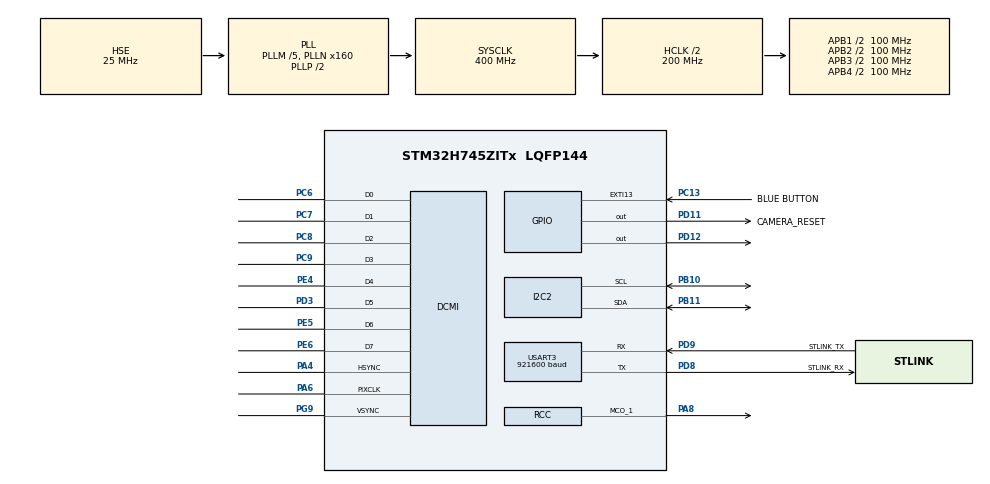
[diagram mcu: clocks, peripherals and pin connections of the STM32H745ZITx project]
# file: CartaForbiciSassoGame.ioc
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CORTEX_M7.CPU_DCache=Enabled
CORTEX_M7.CPU_ICache=Enabled
CORTEX_M7.default_mode_Activation=1
CortexM4.IPs=FATFS_M4\:I,FREERTOS_M4\:I,IWDG2\:I,RCC,WWDG2\:I,DMA,BDMA,MDMA,NVIC2\:I,ETH,DEBUG,PDM2PCM_M4\:I,PWR,RESMGR_UTILITY,SYS_M4\:I,USB_DEVICE_M4\:I,USB_HOST_M4\:I,CORTEX_M4\:I,GPIO,OPENAMP_M4\:I,VREFBUF,NUCLEO-H745ZI-Q\:I
CortexM7.IPs=FATFS_M7\:I,FREERTOS_M7\:I,IWDG1\:I,RCC\:I,WWDG1\:I,DMA\:I,BDMA\:I,MDMA\:I,NVIC1\:I,SYS\:I,USB_OTG_FS\:I,USB_OTG_FS1\:I,ETH\:I,CORTEX_M7\:I,DEBUG\:I,PDM2PCM_M7\:I,PWR\:I,RESMGR_UTILITY\:I,USB_DEVICE_M7\:I,USB_HOST_M7\:I,GPIO\:I,OPENAMP_M7\:I,VREFBUF\:I,I2C2\:I,DCMI\:I,USART3\:I
CortexM7.Pins=PC13,PD11,PD12
DCMI.PCKPolarity=DCMI_PCKPOLARITY_RISING
DCMI.VSPolarity=DCMI_VSPOLARITY_HIGH
Dma.DCMI.0.Direction=DMA_PERIPH_TO_MEMORY
Dma.DCMI.0.EventEnable=DISABLE
Dma.DCMI.0.FIFOMode=DMA_FIFOMODE_DISABLE
Dma.DCMI.0.Instance=DMA1_Stream0
Dma.DCMI.0.MemDataAlignment=DMA_MDATAALIGN_WORD
Dma.DCMI.0.MemInc=DMA_MINC_ENABLE
Dma.DCMI.0.Mode=DMA_NORMAL
Dma.DCMI.0.PeriphDataAlignment=DMA_PDATAALIGN_WORD
Dma.DCMI.0.PeriphInc=DMA_PINC_DISABLE
Dma.DCMI.0.Polarity=HAL_DMAMUX_REQ_GEN_RISING
Dma.DCMI.0.Priority=DMA_PRIORITY_LOW
Dma.DCMI.0.RequestNumber=1
Dma.DCMI.0.SignalID=NONE
Dma.DCMI.0.SyncEnable=DISABLE
Dma.DCMI.0.SyncPolarity=HAL_DMAMUX_SYNC_NO_EVENT
Dma.DCMI.0.SyncRequestNumber=1
Dma.DCMI.0.SyncSignalID=NONE
Dma.Request0=DCMI
I2C2.Timing=0x10C0ECFF
Mcu.Family=STM32H7
Mcu.Name=STM32H745ZITx
Mcu.Package=LQFP144
NVIC1.DCMI_IRQn=true\:0\:0\:false\:false\:true\:true\:true\:true
NVIC1.DMA1_Stream0_IRQn=true\:0\:0\:false\:false\:true\:false\:true\:true
NVIC1.EXTI15_10_IRQn=true\:0\:0\:false\:false\:true\:true\:true\:true
NVIC1.PriorityGroup=NVIC_PRIORITYGROUP_4
NVIC2.PriorityGroup=NVIC_PRIORITYGROUP_4
PA4.GPIO_PuPd=GPIO_PULLDOWN
PA4.GPIO_Speed=GPIO_SPEED_FREQ_VERY_HIGH
PA4.Mode=Slave_8_bits_External_Synchro
PA4.PinAttribute=CortexM7
PA4.Signal=DCMI_HSYNC
PA6.GPIO_PuPd=GPIO_PULLDOWN
PA6.GPIO_Speed=GPIO_SPEED_FREQ_VERY_HIGH
PA6.Mode=Slave_8_bits_External_Synchro
PA6.PinAttribute=CortexM7
PA6.Signal=DCMI_PIXCLK
PA8.GPIO_Speed=GPIO_SPEED_FREQ_VERY_HIGH
PA8.Mode=Clock-out-1
PA8.PinAttribute=Free
PA8.Signal=RCC_MCO_1
PB10.GPIO_Pu=GPIO_PULLUP
PB10.Mode=I2C
PB10.PinAttribute=CortexM7
PB10.Signal=I2C2_SCL
PB11.GPIO_Pu=GPIO_PULLUP
PB11.Mode=I2C
PB11.PinAttribute=CortexM7
PB11.Signal=I2C2_SDA
PC13.GPIO_Label=BLUE BUTTON
PC13.PinAttribute=CortexM7
PC13.Signal=GPXTI13
PC14-OSC32_IN\ (OSC32_IN).PinAttribute=Free
PC14-OSC32_IN\ (OSC32_IN).Signal=RCC_OSC32_IN
PC15-OSC32_OUT\ (OSC32_OUT).PinAttribute=Free
PC15-OSC32_OUT\ (OSC32_OUT).Signal=RCC_OSC32_OUT
PC6.GPIO_PuPd=GPIO_PULLDOWN
PC6.GPIO_Speed=GPIO_SPEED_FREQ_VERY_HIGH
PC6.Mode=Slave_8_bits_External_Synchro
PC6.PinAttribute=CortexM7
PC6.Signal=DCMI_D0
PC7.GPIO_PuPd=GPIO_PULLDOWN
PC7.GPIO_Speed=GPIO_SPEED_FREQ_VERY_HIGH
PC7.Mode=Slave_8_bits_External_Synchro
PC7.PinAttribute=CortexM7
PC7.Signal=DCMI_D1
PC8.GPIO_PuPd=GPIO_PULLDOWN
PC8.GPIO_Speed=GPIO_SPEED_FREQ_VERY_HIGH
PC8.Mode=Slave_8_bits_External_Synchro
PC8.PinAttribute=CortexM7
PC8.Signal=DCMI_D2
PC9.GPIO_PuPd=GPIO_PULLDOWN
PC9.GPIO_Speed=GPIO_SPEED_FREQ_VERY_HIGH
PC9.Mode=Slave_8_bits_External_Synchro
PC9.PinAttribute=CortexM7
PC9.Signal=DCMI_D3
PD11.GPIO_Label=CAMERA_RESET
PD11.PinAttribute=CortexM7
PD11.Signal=GPIO_Output
PD12.PinAttribute=CortexM7
PD12.Signal=GPIO_Output
PD3.GPIO_PuPd=GPIO_PULLDOWN
PD3.GPIO_Speed=GPIO_SPEED_FREQ_VERY_HIGH
PD3.Mode=Slave_8_bits_External_Synchro
PD3.PinAttribute=CortexM7
PD3.Signal=DCMI_D5
PD8.GPIO_Label=STLINK_RX
PD8.Mode=Asynchronous
PD8.PinAttribute=CortexM7
PD8.Signal=USART3_TX
PD9.GPIO_Label=STLINK_TX
PD9.GPIO_PuPd=GPIO_PULLUP
PD9.Mode=Asynchronous
PD9.PinAttribute=CortexM7
PD9.Signal=USART3_RX
PE4.GPIO_PuPd=GPIO_PULLDOWN
PE4.GPIO_Speed=GPIO_SPEED_FREQ_VERY_HIGH
PE4.Mode=Slave_8_bits_External_Synchro
PE4.PinAttribute=CortexM7
PE4.Signal=DCMI_D4
PE5.GPIO_PuPd=GPIO_PULLDOWN
PE5.GPIO_Speed=GPIO_SPEED_FREQ_VERY_HIGH
PE5.Mode=Slave_8_bits_External_Synchro
PE5.PinAttribute=CortexM7
PE5.Signal=DCMI_D6
PE6.GPIO_PuPd=GPIO_PULLDOWN
PE6.GPIO_Speed=GPIO_SPEED_FREQ_VERY_HIGH
PE6.Mode=Slave_8_bits_External_Synchro
PE6.PinAttribute=CortexM7
PE6.Signal=DCMI_D7
PG9.GPIO_PuPd=GPIO_PULLDOWN
PG9.GPIO_Speed=GPIO_SPEED_FREQ_VERY_HIGH
PG9.Mode=Slave_8_bits_External_Synchro
PG9.PinAttribute=CortexM7
PG9.Signal=DCMI_VSYNC
PH0-OSC_IN\ (PH0).Mode=HSE-External-Oscillator
PH0-OSC_IN\ (PH0).PinAttribute=Free
PH0-OSC_IN\ (PH0).Signal=RCC_OSC_IN
PH1-OSC_OUT\ (PH1).Mode=HSE-External-Oscillator
PH1-OSC_OUT\ (PH1).PinAttribute=Free
PH1-OSC_OUT\ (PH1).Signal=RCC_OSC_OUT
ProjectManager.HeapSize=M4-0x200,M7-0x800
ProjectManager.StackSize=M4-0x400,M7-0x2000
ProjectManager.TargetToolchain=STM32CubeIDE
RCC.ADCFreq_Value=50390625
RCC.APB1CLKDivider=RCC_HCLK_DIV4
RCC.APB1Freq_Value=100000000
RCC.APB2CLKDivider=RCC_HCLK_DIV2
RCC.APB2Freq_Value=100000000
RCC.APB3Freq_Value=100000000
RCC.APB4Freq_Value=100000000
RCC.CortexFreq_Value=400000000
RCC.D1PPRE=RCC_APB3_DIV2
RCC.D2PPRE1=RCC_APB1_DIV2
RCC.D2PPRE2=RCC_APB2_DIV2
RCC.D3PPRE=RCC_APB4_DIV2
RCC.DIVM1=5
RCC.DIVM2=32
RCC.DIVM3=4
RCC.DIVN1=160
RCC.DIVN2=129
RCC.DIVN3=480
RCC.DIVQ1=20
RCC.DIVQ2=2
RCC.DIVQ3=8
RCC.FLatency=FLASH_LATENCY_2
RCC.HCLKFreq_Value=200000000
RCC.HPRE=RCC_HCLK_DIV2
RCC.HSE_VALUE=25000000
RCC.PLL2FRACN=0
RCC.PLL3FRACN=0
RCC.PLLFRACN=0
RCC.PLLM=25
RCC.PLLMUL=RCC_PLL_MUL9
RCC.PLLN=432
RCC.PLLQ=9
RCC.PLLSourceVirtual=RCC_PLLSOURCE_HSE
RCC.PRESCALERUSB=RCC_USBCLKSOURCE_PLL_DIV1_5
RCC.PWR_Regulator_Voltage_Scale=PWR_REGULATOR_VOLTAGE_SCALE1
RCC.ProductRev=revV
RCC.SYSCLKFreq_VALUE=400000000
RCC.SYSCLKSource=RCC_SYSCLKSOURCE_PLLCLK
RCC.SYSCLKSourceVirtual=RCC_SYSCLKSOURCE_PLLCLK
RCC.SupplySource=PWR_DIRECT_SMPS_SUPPLY
RCC.USART234578CLockSelection=RCC_USART234578CLKSOURCE_HSI
RCC.USBCLockSelection=RCC_USBCLKSOURCE_PLL3
RCC.USBFreq_Value=375000000
USART3.BaudRate=921600
USART3.VirtualMode-Asynchronous=VM_ASYNC
VP_SYS_M4_VS_Systick.Mode=SysTick
board=NUCLEO-H745ZI-Q

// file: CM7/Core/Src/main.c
/* USER CODE BEGIN Header */
/**
  ******************************************************************************
  * @file           : main.c
  * @brief          : Main program body
  ******************************************************************************
  * @attention
  *
  * Copyright (c) 2026 STMicroelectronics.
  * All rights reserved.
  *
  * This software is licensed under terms that can be found in the LICENSE file
  * in the root directory of this software component.
  * If no LICENSE file comes with this software, it is provided AS-IS.
  *
  ******************************************************************************
  */
/* USER CODE END Header */
#include "main.h"

/* USER CODE BEGIN Includes */
#include "app_x-cube-ai.h"
#include "common.h"
#include "ov7670.h"
#include <stdio.h>
#include <string.h>
#if defined ( __ICCARM__ )
#define AI_RAM_D2   _Pragma("location=\".buffer\"")
#elif defined ( __CC_ARM ) || ( __GNUC__ )
#define AI_RAM_D2   __attribute__((section(".buffer")))
#endif
/* USER CODE END Includes */

/* USER CODE BEGIN PTD */
void Game_Countdown(void);
void Process_Image_128x128(void);
void Send_Data_To_PC(int cpu_move, int player_move);
/* USER CODE END PTD */

/* USER CODE BEGIN PD */
#define MAX_PICTURE_BUFF     38400

/* DUAL_CORE_BOOT_SYNC_SEQUENCE: Define for dual core boot synchronization    */
/*                             demonstration code based on hardware semaphore */
/* This define is present in both CM7/CM4 projects                            */
/* To comment when developping/debugging on a single core                     */
#define DUAL_CORE_BOOT_SYNC_SEQUENCE

#if defined(DUAL_CORE_BOOT_SYNC_SEQUENCE)
#ifndef HSEM_ID_0
#define HSEM_ID_0 (0U) /* HW semaphore 0*/
#endif
#endif /* DUAL_CORE_BOOT_SYNC_SEQUENCE */

/* USER CODE END PD */

DCMI_HandleTypeDef hdcmi;
DMA_HandleTypeDef hdma_dcmi;

I2C_HandleTypeDef hi2c2;

UART_HandleTypeDef huart3;

/* USER CODE BEGIN PV */
AI_RAM_D2 uint32_t picture[MAX_PICTURE_BUFF];
AI_RAM_D2 uint8_t buffer_ai[STAI_NETWORK_IN_1_SIZE_BYTES]; //STAI_NETWORK_IN_1_SIZE_BYTES = 16384 byts
volatile uint8_t start_game_flag = 0;
volatile uint8_t data_ready_flag = 0;
int stm32_move = 0;
int user_move  = 0;
extern float predictions[3];
/* USER CODE END PV */

void SystemClock_Config(void);
static void MPU_Config(void);
static void MX_GPIO_Init(void);
static void MX_DMA_Init(void);
static void MX_USART3_UART_Init(void);
static void MX_DCMI_Init(void);
static void MX_I2C2_Init(void);

int main(void)
{

/* USER CODE BEGIN Boot_Mode_Sequence_0 */
#if defined(DUAL_CORE_BOOT_SYNC_SEQUENCE)
  int32_t timeout;
#endif /* DUAL_CORE_BOOT_SYNC_SEQUENCE */
/* USER CODE END Boot_Mode_Sequence_0 */

  /* MPU Configuration--------------------------------------------------------*/
  MPU_Config();

  /* Enable the CPU Cache */

  /* Enable I-Cache---------------------------------------------------------*/
  SCB_EnableICache();

  /* Enable D-Cache---------------------------------------------------------*/
  SCB_EnableDCache();

/* USER CODE BEGIN Boot_Mode_Sequence_1 */
#if defined(DUAL_CORE_BOOT_SYNC_SEQUENCE)
  /* Wait until CPU2 boots and enters in stop mode or timeout*/
  timeout = 0xFFFF;
  while((__HAL_RCC_GET_FLAG(RCC_FLAG_D2CKRDY) != RESET) && (timeout-- > 0));
  if ( timeout < 0 )
  {
  Error_Handler();
  }
#endif /* DUAL_CORE_BOOT_SYNC_SEQUENCE */
/* USER CODE END Boot_Mode_Sequence_1 */
  /* MCU Configuration--------------------------------------------------------*/

  /* Reset of all peripherals, Initializes the Flash interface and the Systick. */
  HAL_Init();

  /* Configure the system clock */
  SystemClock_Config();
/* USER CODE BEGIN Boot_Mode_Sequence_2 */
#if defined(DUAL_CORE_BOOT_SYNC_SEQUENCE)
/* When system initialization is finished, Cortex-M7 will release Cortex-M4 by means of
HSEM notification */
/*HW semaphore Clock enable*/
__HAL_RCC_HSEM_CLK_ENABLE();
/*Take HSEM */
HAL_HSEM_FastTake(HSEM_ID_0);
/*Release HSEM in order to notify the CPU2(CM4)*/
HAL_HSEM_Release(HSEM_ID_0,0);
/* wait until CPU2 wakes up from stop mode */
timeout = 0xFFFF;
while((__HAL_RCC_GET_FLAG(RCC_FLAG_D2CKRDY) == RESET) && (timeout-- > 0));
if ( timeout < 0 )
{
Error_Handler();
}
#endif /* DUAL_CORE_BOOT_SYNC_SEQUENCE */
/* USER CODE END Boot_Mode_Sequence_2 */

  /* Initialize all configured peripherals */
  MX_GPIO_Init();
  MX_DMA_Init();
  MX_USART3_UART_Init();
  MX_DCMI_Init();
  MX_I2C2_Init();
  /* USER CODE BEGIN 2 */
  	STM32CubeAI_Studio_AI_Init();
    HAL_GPIO_WritePin(GPIOD, GPIO_PIN_12, GPIO_PIN_RESET); //Camera PWDN to GND
    ov7670_init(&hdcmi, &hdma_dcmi, &hi2c2);
    ov7670_config(OV7670_MODE_QVGA_YUV);
  /* USER CODE END 2 */

  /* Infinite loop */
  /* USER CODE BEGIN WHILE */
  while (1)
  {
	  if (start_game_flag == 1)
	        {
		  	  	start_game_flag = 0;

	            Game_Countdown();

	            stm32_move = HAL_GetTick() % 3;

	            ov7670_startCap(OV7670_CAP_SINGLE_FRAME, (uint32_t)picture);
	        }

	        if (data_ready_flag == 1)
	        {
	            data_ready_flag = 0;

	            Process_Image_128x128();

	            STM32CubeAI_Studio_AI_Process();

	            float max_prob = predictions[0];
	            user_move = 0;
	            for (int i = 1; i < 3; i++) {
	                if (predictions[i] > max_prob) {
	                    max_prob = predictions[i];
	                    user_move = i;
	                }
	            }

	            Send_Data_To_PC(stm32_move, user_move);
	        }

	        HAL_Delay(10);
    /* USER CODE END WHILE */

  }
}

void SystemClock_Config(void)
{
  RCC_OscInitTypeDef RCC_OscInitStruct = {0};
  RCC_ClkInitTypeDef RCC_ClkInitStruct = {0};

  /** Supply configuration update enable
  */
  HAL_PWREx_ConfigSupply(PWR_DIRECT_SMPS_SUPPLY);

  /** Configure the main internal regulator output voltage
  */
  __HAL_PWR_VOLTAGESCALING_CONFIG(PWR_REGULATOR_VOLTAGE_SCALE1);

  while(!__HAL_PWR_GET_FLAG(PWR_FLAG_VOSRDY)) {}

  /** Initializes the RCC Oscillators according to the specified parameters
  * in the RCC_OscInitTypeDef structure.
  */
  RCC_OscInitStruct.OscillatorType = RCC_OSCILLATORTYPE_HSI|RCC_OSCILLATORTYPE_HSE;
  RCC_OscInitStruct.HSEState = RCC_HSE_ON;
  RCC_OscInitStruct.HSIState = RCC_HSI_DIV1;
  RCC_OscInitStruct.HSICalibrationValue = RCC_HSICALIBRATION_DEFAULT;
  RCC_OscInitStruct.PLL.PLLState = RCC_PLL_ON;
  RCC_OscInitStruct.PLL.PLLSource = RCC_PLLSOURCE_HSE;
  RCC_OscInitStruct.PLL.PLLM = 5;
  RCC_OscInitStruct.PLL.PLLN = 160;
  RCC_OscInitStruct.PLL.PLLP = 2;
  RCC_OscInitStruct.PLL.PLLQ = 20;
  RCC_OscInitStruct.PLL.PLLR = 2;
  RCC_OscInitStruct.PLL.PLLRGE = RCC_PLL1VCIRANGE_2;
  RCC_OscInitStruct.PLL.PLLVCOSEL = RCC_PLL1VCOWIDE;
  RCC_OscInitStruct.PLL.PLLFRACN = 0;
  if (HAL_RCC_OscConfig(&RCC_OscInitStruct) != HAL_OK)
  {
    Error_Handler();
  }

  /** Initializes the CPU, AHB and APB buses clocks
  */
  RCC_ClkInitStruct.ClockType = RCC_CLOCKTYPE_HCLK|RCC_CLOCKTYPE_SYSCLK
                              |RCC_CLOCKTYPE_PCLK1|RCC_CLOCKTYPE_PCLK2
                              |RCC_CLOCKTYPE_D3PCLK1|RCC_CLOCKTYPE_D1PCLK1;
  RCC_ClkInitStruct.SYSCLKSource = RCC_SYSCLKSOURCE_PLLCLK;
  RCC_ClkInitStruct.SYSCLKDivider = RCC_SYSCLK_DIV1;
  RCC_ClkInitStruct.AHBCLKDivider = RCC_HCLK_DIV2;
  RCC_ClkInitStruct.APB3CLKDivider = RCC_APB3_DIV2;
  RCC_ClkInitStruct.APB1CLKDivider = RCC_APB1_DIV2;
  RCC_ClkInitStruct.APB2CLKDivider = RCC_APB2_DIV2;
  RCC_ClkInitStruct.APB4CLKDivider = RCC_APB4_DIV2;

  if (HAL_RCC_ClockConfig(&RCC_ClkInitStruct, FLASH_LATENCY_2) != HAL_OK)
  {
    Error_Handler();
  }
  HAL_RCC_MCOConfig(RCC_MCO1, RCC_MCO1SOURCE_HSI, RCC_MCODIV_1);
}

static void MX_DCMI_Init(void)
{

  hdcmi.Instance = DCMI;
  hdcmi.Init.SynchroMode = DCMI_SYNCHRO_HARDWARE;
  hdcmi.Init.PCKPolarity = DCMI_PCKPOLARITY_RISING;
  hdcmi.Init.VSPolarity = DCMI_VSPOLARITY_HIGH;
  hdcmi.Init.HSPolarity = DCMI_HSPOLARITY_LOW;
  hdcmi.Init.CaptureRate = DCMI_CR_ALL_FRAME;
  hdcmi.Init.ExtendedDataMode = DCMI_EXTEND_DATA_8B;
  hdcmi.Init.JPEGMode = DCMI_JPEG_DISABLE;
  hdcmi.Init.ByteSelectMode = DCMI_BSM_ALL;
  hdcmi.Init.ByteSelectStart = DCMI_OEBS_ODD;
  hdcmi.Init.LineSelectMode = DCMI_LSM_ALL;
  hdcmi.Init.LineSelectStart = DCMI_OELS_ODD;
  if (HAL_DCMI_Init(&hdcmi) != HAL_OK)
  {
    Error_Handler();
  }

}

static void MX_I2C2_Init(void)
{

  hi2c2.Instance = I2C2;
  hi2c2.Init.Timing = 0x10C0ECFF;
  hi2c2.Init.OwnAddress1 = 0;
  hi2c2.Init.AddressingMode = I2C_ADDRESSINGMODE_7BIT;
  hi2c2.Init.DualAddressMode = I2C_DUALADDRESS_DISABLE;
  hi2c2.Init.OwnAddress2 = 0;
  hi2c2.Init.OwnAddress2Masks = I2C_OA2_NOMASK;
  hi2c2.Init.GeneralCallMode = I2C_GENERALCALL_DISABLE;
  hi2c2.Init.NoStretchMode = I2C_NOSTRETCH_DISABLE;
  if (HAL_I2C_Init(&hi2c2) != HAL_OK)
  {
    Error_Handler();
  }

  /** Configure Analogue filter
  */
  if (HAL_I2CEx_ConfigAnalogFilter(&hi2c2, I2C_ANALOGFILTER_ENABLE) != HAL_OK)
  {
    Error_Handler();
  }

  /** Configure Digital filter
  */
  if (HAL_I2CEx_ConfigDigitalFilter(&hi2c2, 0) != HAL_OK)
  {
    Error_Handler();
  }

}

static void MX_USART3_UART_Init(void)
{

  huart3.Instance = USART3;
  huart3.Init.BaudRate = 921600;
  huart3.Init.WordLength = UART_WORDLENGTH_8B;
  huart3.Init.StopBits = UART_STOPBITS_1;
  huart3.Init.Parity = UART_PARITY_NONE;
  huart3.Init.Mode = UART_MODE_TX_RX;
  huart3.Init.HwFlowCtl = UART_HWCONTROL_NONE;
  huart3.Init.OverSampling = UART_OVERSAMPLING_16;
  huart3.Init.OneBitSampling = UART_ONE_BIT_SAMPLE_DISABLE;
  huart3.Init.ClockPrescaler = UART_PRESCALER_DIV1;
  huart3.AdvancedInit.AdvFeatureInit = UART_ADVFEATURE_NO_INIT;
  if (HAL_UART_Init(&huart3) != HAL_OK)
  {
    Error_Handler();
  }
  if (HAL_UARTEx_SetTxFifoThreshold(&huart3, UART_TXFIFO_THRESHOLD_1_8) != HAL_OK)
  {
    Error_Handler();
  }
  if (HAL_UARTEx_SetRxFifoThreshold(&huart3, UART_RXFIFO_THRESHOLD_1_8) != HAL_OK)
  {
    Error_Handler();
  }
  if (HAL_UARTEx_DisableFifoMode(&huart3) != HAL_OK)
  {
    Error_Handler();
  }

}

static void MX_DMA_Init(void)
{

  /* DMA controller clock enable */
  __HAL_RCC_DMA1_CLK_ENABLE();

  /* DMA interrupt init */
  /* DMA1_Stream0_IRQn interrupt configuration */
  HAL_NVIC_SetPriority(DMA1_Stream0_IRQn, 0, 0);
  HAL_NVIC_EnableIRQ(DMA1_Stream0_IRQn);

}

static void MX_GPIO_Init(void)
{
  GPIO_InitTypeDef GPIO_InitStruct = {0};

  /* GPIO Ports Clock Enable */
  __HAL_RCC_GPIOE_CLK_ENABLE();
  __HAL_RCC_GPIOC_CLK_ENABLE();
  __HAL_RCC_GPIOA_CLK_ENABLE();
  __HAL_RCC_GPIOB_CLK_ENABLE();
  __HAL_RCC_GPIOD_CLK_ENABLE();
  __HAL_RCC_GPIOG_CLK_ENABLE();

  /*Configure GPIO pin Output Level */
  HAL_GPIO_WritePin(GPIOD, CAMERA_RESET_Pin|GPIO_PIN_12, GPIO_PIN_RESET);

  /*Configure GPIO pin : BLUE_BUTTON_Pin */
  GPIO_InitStruct.Pin = BLUE_BUTTON_Pin;
  GPIO_InitStruct.Mode = GPIO_MODE_IT_RISING;
  GPIO_InitStruct.Pull = GPIO_NOPULL;
  HAL_GPIO_Init(BLUE_BUTTON_GPIO_Port, &GPIO_InitStruct);

  /*Configure GPIO pins : CAMERA_RESET_Pin PD12 */
  GPIO_InitStruct.Pin = CAMERA_RESET_Pin|GPIO_PIN_12;
  GPIO_InitStruct.Mode = GPIO_MODE_OUTPUT_PP;
  GPIO_InitStruct.Pull = GPIO_NOPULL;
  GPIO_InitStruct.Speed = GPIO_SPEED_FREQ_LOW;
  HAL_GPIO_Init(GPIOD, &GPIO_InitStruct);

  /* EXTI interrupt init*/
  HAL_NVIC_SetPriority(BLUE_BUTTON_EXTI_IRQn, 0, 0);
  HAL_NVIC_EnableIRQ(BLUE_BUTTON_EXTI_IRQn);

}

/* USER CODE BEGIN 4 */
void HAL_GPIO_EXTI_Callback(uint16_t GPIO_Pin)
{
    if(GPIO_Pin == GPIO_PIN_13)

    {

    	start_game_flag = 1;

    }
}
void HAL_DCMI_FrameEventCallback(DCMI_HandleTypeDef *hdcmi)
{
    // Check if the interrupt comes from our camera DCMI instance
    if(hdcmi->Instance == DCMI)
    {
        data_ready_flag = 1;
    }
}
/**
  * @brief  Transmits the countdown log messages via UART for pc.
  * @param  None
  * @retval None
  */
void Game_Countdown(void)
{
    HAL_UART_Transmit(&huart3, (uint8_t*)"INFO:Get ready...\r\n", 19, 100);
    HAL_Delay(300);
    HAL_UART_Transmit(&huart3, (uint8_t*)"COUNT:3\r\n", 9, 100);
    HAL_Delay(300);
    HAL_UART_Transmit(&huart3, (uint8_t*)"COUNT:2\r\n", 9, 100);
    HAL_Delay(300);
    HAL_UART_Transmit(&huart3, (uint8_t*)"COUNT:1\r\n", 9, 100);
    HAL_Delay(300);
}
/**
  * @brief  Performs image cropping and downsampling from YUV matrix to a 128x128 monochrome buffer.
  * @param  None
  * @retval None
  */
void Process_Image_128x128(void)
{
    SCB_InvalidateDCache_by_Addr((uint32_t*)picture, 153600);

    uint8_t* photo_bytes_ptr = (uint8_t*)picture;
    int ai_index = 0;

    for (int out_row = 0; out_row < 128; out_row++) {
        int in_row = (out_row * 240) / 128;
        for (int out_col = 0; out_col < 128; out_col++) {
            int in_col = (out_col * 320) / 128;

            // YUV422 format: indexing steps by 2 bytes per pixel
            int original_pixel_index = (in_row * 320 + in_col) * 2;

            // Extract the Luminance (Y) byte channel
            buffer_ai[ai_index] = photo_bytes_ptr[original_pixel_index];
            ai_index++;
        }
    }

    // Clean D-Cache to flush the updated AI buffer back to the physical RAM pool
    SCB_CleanDCache_by_Addr((uint32_t*)buffer_ai, 16384);
}
/**
  * @brief  Evaluates the match results and streams the log text along with the 128x128 image stream.
  * @param  cpu_move: The random generated move from the STM32 (0-2)
  * @param  player_move: The predicted move from the User via Neural Network (0-2)
  * @retval None
  */
void Send_Data_To_PC(int cpu_move, int player_move)
{
    char local_buffer[50];

    // Transmit move identifiers
    sprintf(local_buffer, "STM32_MOVE:%d\r\n", cpu_move);
    HAL_UART_Transmit(&huart3, (uint8_t*)local_buffer, strlen(local_buffer), 100);

    sprintf(local_buffer, "USER_MOVE:%d\r\n", player_move);
    HAL_UART_Transmit(&huart3, (uint8_t*)local_buffer, strlen(local_buffer), 100);

    // Match winning logic evaluation (0=Paper, 1=Rock, 2=Scissors)
    if (player_move == cpu_move) {
        HAL_UART_Transmit(&huart3, (uint8_t*)"RESULT:TIE\r\n", 15, 100);
    }
    // USER WINNING CONDITIONS:
    // - Player inputs Paper (0) and CPU inputs Rock (1)
    // - Player inputs Rock (1) and CPU inputs Scissors (2)
    // - Player inputs Scissors (2) and CPU inputs Paper (0)
    else if ((player_move == 0 && cpu_move == 1) ||
             (player_move == 1 && cpu_move == 2) ||
             (player_move == 2 && cpu_move == 0)) {
        HAL_UART_Transmit(&huart3, (uint8_t*)"RESULT:YOU WIN!\r\n", 20, 100);
    }
    // Any other case results in a CPU win
    else {
        HAL_UART_Transmit(&huart3, (uint8_t*)"RESULT:STM32 WINS!\r\n", 23, 100);
    }

    // Stream the binary image line by line
    HAL_UART_Transmit(&huart3, (uint8_t*)"*START_FOTO*\r\n", 14, 100);
    for (int row = 0; row < 128; row++) {
        uint8_t* row_ptr = &buffer_ai[row * 128];
        HAL_UART_Transmit(&huart3, row_ptr, 128, 100);
        HAL_Delay(1); // Small delay to prevent UART buffer flooding on the host PC
    }
}
/* USER CODE END 4 */

 /* MPU Configuration */

void MPU_Config(void)
{
  MPU_Region_InitTypeDef MPU_InitStruct = {0};

  /* Disables the MPU */
  HAL_MPU_Disable();

  /** Initializes and configures the Region and the memory to be protected
  */
  MPU_InitStruct.Enable = MPU_REGION_ENABLE;
  MPU_InitStruct.Number = MPU_REGION_NUMBER0;
  MPU_InitStruct.BaseAddress = 0x0;
  MPU_InitStruct.Size = MPU_REGION_SIZE_4GB;
  MPU_InitStruct.SubRegionDisable = 0x87;
  MPU_InitStruct.TypeExtField = MPU_TEX_LEVEL0;
  MPU_InitStruct.AccessPermission = MPU_REGION_NO_ACCESS;
  MPU_InitStruct.DisableExec = MPU_INSTRUCTION_ACCESS_DISABLE;
  MPU_InitStruct.IsShareable = MPU_ACCESS_SHAREABLE;
  MPU_InitStruct.IsCacheable = MPU_ACCESS_NOT_CACHEABLE;
  MPU_InitStruct.IsBufferable = MPU_ACCESS_NOT_BUFFERABLE;

  HAL_MPU_ConfigRegion(&MPU_InitStruct);
  /* Enables the MPU */
  HAL_MPU_Enable(MPU_PRIVILEGED_DEFAULT);

}

void Error_Handler(void)
{
  __disable_irq();
  while (1)
  {
  }
}
